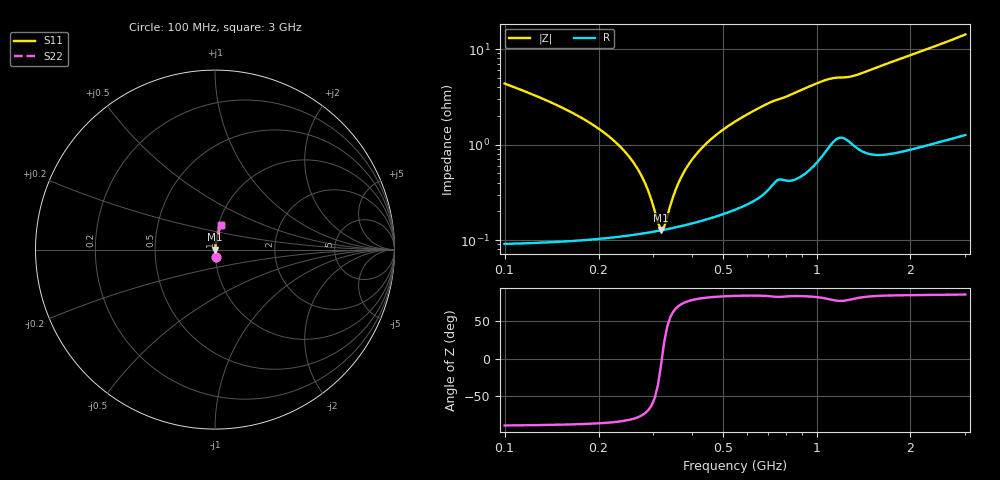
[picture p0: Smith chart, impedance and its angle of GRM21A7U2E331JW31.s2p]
!Murata Part Number: GRM21A7U2E331JW31
!These Parameters are Measured in Series Mode Connection
!Data Generated on Mar 30, 2021
!  o--ll--o
!Port1  Port2
!  o------o
!Operation Temp=25[degC], DC Bias Voltage=0[V]
!Freq. Start=100[MHz] Stop=3[GHz] 401[Steps]
# Hz S RI R 50
!Freq.(Hz) S11(Real) S11(Imag) S21(Real) S21(Imag) S12(Real) S12(Imag) S22(Real) S22(Imag)
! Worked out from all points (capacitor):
!   401 points, 100 MHz to 3 GHz, reference 50 ohm
!   read as one part in series: C = 330 pF near 114.5 MHz
!   lowest |Z| = 128 mohm at 317.5 MHz (marker M1)
!   series resonance near 319.3 MHz, so ESL is about 750 pH
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1e8  0.0028 -0.0433  0.9972 0.0433  0.9972 0.0433  0.0028 -0.0433
1.87e8  0.0013 -0.0169  0.9987 0.0169  0.9987 0.0169  0.0013 -0.0169
2.3775e8  0.00117 -0.00903  0.9988 0.00903  0.9988 0.00903  0.00117 -0.00903
2.74e8  0.00119 -0.00463  0.9988 0.00463  0.9988 0.00463  0.00119 -0.00463
3.03e8  0.00123 -0.00158  0.9988 0.00158  0.9988 0.00158  0.00123 -0.00158
3.1025e8  0.00125 -0.000867  0.9988 0.000867  0.9988 0.000867  0.00125 -0.000867
3.175e8  0.00126 -0.00017  0.9987 0.00017  0.9987 0.00017  0.00126 -0.00017
3.2475e8  0.00128 0.000512  0.9987 -0.000512  0.9987 -0.000512  0.00128 0.000512
3.32e8  0.0013 0.00118  0.9987 -0.00118  0.9987 -0.00118  0.0013 0.00118
3.5375e8  0.00137 0.0031  0.9986 -0.0031  0.9986 -0.0031  0.00137 0.0031
3.6825e8  0.00142 0.00432  0.9986 -0.00432  0.9986 -0.00432  0.00142 0.00432
3.9e8  0.0015 0.00608  0.9985 -0.00608  0.9985 -0.00608  0.0015 0.00608
4.1175e8  0.00159 0.00777  0.9984 -0.00777  0.9984 -0.00777  0.00159 0.00777
4.8425e8  0.00196 0.013  0.998 -0.013  0.998 -0.013  0.00196 0.013
5.8575e8  0.00266 0.0196  0.9973 -0.0196  0.9973 -0.0196  0.00266 0.0196
7.235e8  0.00457 0.0279  0.9954 -0.0279  0.9954 -0.0279  0.00457 0.0279
1.0715e9  0.0106 0.0458  0.9894 -0.0458  0.9894 -0.0458  0.0106 0.0458
1.29625e9  0.0126 0.0496  0.9874 -0.0496  0.9874 -0.0496  0.0126 0.0496
1.55e9  0.0116 0.0619  0.9884 -0.0619  0.9884 -0.0619  0.0116 0.0619
2.03575e9  0.0163 0.0855  0.9837 -0.0855  0.9837 -0.0855  0.0163 0.0855
2.5215e9  0.0229 0.1095  0.9771 -0.1095  0.9771 -0.1095  0.0229 0.1095
3e9  0.0313 0.1353  0.9687 -0.1353  0.9687 -0.1353  0.0313 0.1353
